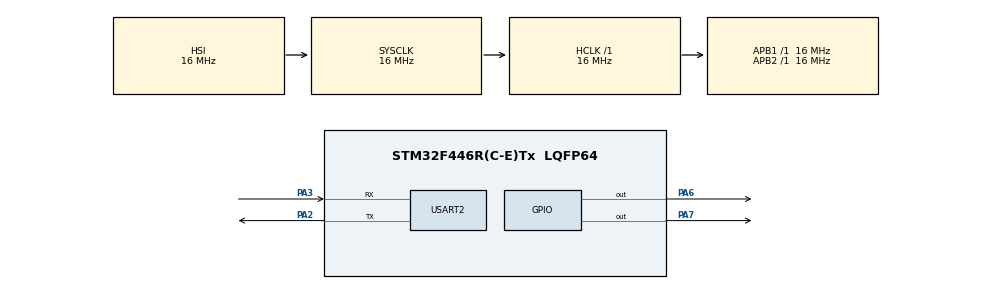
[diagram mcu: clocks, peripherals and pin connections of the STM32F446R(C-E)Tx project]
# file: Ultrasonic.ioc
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Mcu.Family=STM32F4
Mcu.Name=STM32F446R(C-E)Tx
Mcu.Package=LQFP64
NVIC.PriorityGroup=NVIC_PRIORITYGROUP_0
PA13.GPIO_Label=TMS
PA13.Mode=Serial_Wire
PA13.Signal=SYS_JTMS-SWDIO
PA14.GPIO_Label=TCK
PA14.Mode=Serial_Wire
PA14.Signal=SYS_JTCK-SWCLK
PA2.Mode=Asynchronous
PA2.Signal=USART2_TX
PA3.Mode=Asynchronous
PA3.Signal=USART2_RX
PA6.Signal=GPIO_Output
PA7.Signal=GPIO_Output
PB3.GPIO_Label=SWO
PB3.Signal=SYS_JTDO-SWO
PC14-OSC32_IN.Mode=LSE-External-Oscillator
PC14-OSC32_IN.Signal=RCC_OSC32_IN
PC15-OSC32_OUT.Mode=LSE-External-Oscillator
PC15-OSC32_OUT.Signal=RCC_OSC32_OUT
PH0-OSC_IN.Mode=HSE-External-Oscillator
PH0-OSC_IN.Signal=RCC_OSC_IN
PH1-OSC_OUT.Mode=HSE-External-Oscillator
PH1-OSC_OUT.Signal=RCC_OSC_OUT
ProjectManager.HeapSize=0x200
ProjectManager.StackSize=0x400
ProjectManager.TargetToolchain=SW4STM32
RCC.48MHZClocksFreq_Value=84000000
RCC.AHBFreq_Value=16000000
RCC.APB1Freq_Value=16000000
RCC.APB1TimFreq_Value=16000000
RCC.APB2Freq_Value=16000000
RCC.APB2TimFreq_Value=16000000
RCC.CortexFreq_Value=16000000
RCC.FLatency-AdvancedSettings=FLASH_LATENCY_0
RCC.HCLKFreq_Value=16000000
RCC.HSE_VALUE=8000000
RCC.HSI_VALUE=16000000
RCC.PLLM=8
RCC.PLLN=64
RCC.SYSCLKFreq_VALUE=16000000
RCC.USBFreq_Value=64000000
RCC.VCOOutputFreq_Value=128000000
TIM3.Period=15999
TIM3.Prescaler=999
TIM5.Period=65536
USART2.VirtualMode=VM_ASYNC
VP_TIM3_VS_ClockSourceINT.Mode=Internal
VP_TIM5_VS_ClockSourceINT.Mode=Internal
board=NUCLEO-F446RE

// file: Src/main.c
/* USER CODE BEGIN Header */
/**
  ******************************************************************************
  * @file           : main.c
  * @brief          : Main program body
  ******************************************************************************
  * @attention
  *
  * <h2><center>&copy; Copyright (c) 2019 STMicroelectronics.
  * All rights reserved.</center></h2>
  *
  * This software component is licensed by ST under BSD 3-Clause license,
  * the "License"; You may not use this file except in compliance with the
  * License. You may obtain a copy of the License at:
  *                        opensource.org/licenses/BSD-3-Clause
  *
  ******************************************************************************
  */
/* USER CODE END Header */

#include "main.h"
#include <string.h>

TIM_HandleTypeDef htim3;
TIM_HandleTypeDef htim5;

UART_HandleTypeDef huart2;

void SystemClock_Config(void);
static void MX_GPIO_Init(void);
static void MX_TIM3_Init(void);
static void MX_TIM5_Init(void);
static void MX_USART2_UART_Init(void);
void ultrasonic_read (void);
void UART_display(float i);
void delaymicrosecond(uint32_t);

/* USER CODE BEGIN 0 */
uint32_t local_time, sensor_time;
uint32_t distance;
uint32_t timer3_value=0;
/* USER CODE END 0 */

int main(void)
{

  /* MCU Configuration--------------------------------------------------------*/

  /* Reset of all peripherals, Initializes the Flash interface and the Systick. */
  HAL_Init();

  /* Configure the system clock */
  SystemClock_Config();

  /* Initialize all configured peripherals */
  MX_GPIO_Init();
  MX_TIM3_Init();
  MX_TIM5_Init();
  MX_USART2_UART_Init();

  /* Infinite loop */
  while (1)
  {

    /* USER CODE BEGIN 3 */
	  sensor_time = ultrasonic_read();
	  distance  = sensor_time * .034/2;
	  UART_display(distance);
  }
  /* USER CODE END 3 */
}

void SystemClock_Config(void)
{
  RCC_OscInitTypeDef RCC_OscInitStruct = {0};
  RCC_ClkInitTypeDef RCC_ClkInitStruct = {0};

  /** Configure the main internal regulator output voltage
  */
  __HAL_RCC_PWR_CLK_ENABLE();
  __HAL_PWR_VOLTAGESCALING_CONFIG(PWR_REGULATOR_VOLTAGE_SCALE3);
  /** Initializes the CPU, AHB and APB busses clocks
  */
  RCC_OscInitStruct.OscillatorType = RCC_OSCILLATORTYPE_HSI;
  RCC_OscInitStruct.HSIState = RCC_HSI_ON;
  RCC_OscInitStruct.HSICalibrationValue = RCC_HSICALIBRATION_DEFAULT;
  RCC_OscInitStruct.PLL.PLLState = RCC_PLL_NONE;
  if (HAL_RCC_OscConfig(&RCC_OscInitStruct) != HAL_OK)
  {
    Error_Handler();
  }
  /** Initializes the CPU, AHB and APB busses clocks
  */
  RCC_ClkInitStruct.ClockType = RCC_CLOCKTYPE_HCLK|RCC_CLOCKTYPE_SYSCLK
                              |RCC_CLOCKTYPE_PCLK1|RCC_CLOCKTYPE_PCLK2;
  RCC_ClkInitStruct.SYSCLKSource = RCC_SYSCLKSOURCE_HSI;
  RCC_ClkInitStruct.AHBCLKDivider = RCC_SYSCLK_DIV1;
  RCC_ClkInitStruct.APB1CLKDivider = RCC_HCLK_DIV1;
  RCC_ClkInitStruct.APB2CLKDivider = RCC_HCLK_DIV1;

  if (HAL_RCC_ClockConfig(&RCC_ClkInitStruct, FLASH_LATENCY_0) != HAL_OK)
  {
    Error_Handler();
  }
}

static void MX_TIM3_Init(void)
{

  TIM_ClockConfigTypeDef sClockSourceConfig = {0};
  TIM_MasterConfigTypeDef sMasterConfig = {0};

  htim3.Instance = TIM3;
  htim3.Init.Prescaler = 999;
  htim3.Init.CounterMode = TIM_COUNTERMODE_UP;
  htim3.Init.Period = 15999;
  htim3.Init.ClockDivision = TIM_CLOCKDIVISION_DIV1;
  htim3.Init.AutoReloadPreload = TIM_AUTORELOAD_PRELOAD_DISABLE;
  if (HAL_TIM_Base_Init(&htim3) != HAL_OK)
  {
    Error_Handler();
  }
  sClockSourceConfig.ClockSource = TIM_CLOCKSOURCE_INTERNAL;
  if (HAL_TIM_ConfigClockSource(&htim3, &sClockSourceConfig) != HAL_OK)
  {
    Error_Handler();
  }
  sMasterConfig.MasterOutputTrigger = TIM_TRGO_RESET;
  sMasterConfig.MasterSlaveMode = TIM_MASTERSLAVEMODE_DISABLE;
  if (HAL_TIMEx_MasterConfigSynchronization(&htim3, &sMasterConfig) != HAL_OK)
  {
    Error_Handler();
  }

}

static void MX_TIM5_Init(void)
{

  TIM_ClockConfigTypeDef sClockSourceConfig = {0};
  TIM_MasterConfigTypeDef sMasterConfig = {0};

  htim5.Instance = TIM5;
  htim5.Init.Prescaler = 0;
  htim5.Init.CounterMode = TIM_COUNTERMODE_UP;
  htim5.Init.Period = 65536;
  htim5.Init.ClockDivision = TIM_CLOCKDIVISION_DIV1;
  htim5.Init.AutoReloadPreload = TIM_AUTORELOAD_PRELOAD_DISABLE;
  if (HAL_TIM_Base_Init(&htim5) != HAL_OK)
  {
    Error_Handler();
  }
  sClockSourceConfig.ClockSource = TIM_CLOCKSOURCE_INTERNAL;
  if (HAL_TIM_ConfigClockSource(&htim5, &sClockSourceConfig) != HAL_OK)
  {
    Error_Handler();
  }
  sMasterConfig.MasterOutputTrigger = TIM_TRGO_RESET;
  sMasterConfig.MasterSlaveMode = TIM_MASTERSLAVEMODE_DISABLE;
  if (HAL_TIMEx_MasterConfigSynchronization(&htim5, &sMasterConfig) != HAL_OK)
  {
    Error_Handler();
  }

}

static void MX_USART2_UART_Init(void)
{

  huart2.Instance = USART2;
  huart2.Init.BaudRate = 115200;
  huart2.Init.WordLength = UART_WORDLENGTH_8B;
  huart2.Init.StopBits = UART_STOPBITS_1;
  huart2.Init.Parity = UART_PARITY_NONE;
  huart2.Init.Mode = UART_MODE_TX_RX;
  huart2.Init.HwFlowCtl = UART_HWCONTROL_NONE;
  huart2.Init.OverSampling = UART_OVERSAMPLING_16;
  if (HAL_UART_Init(&huart2) != HAL_OK)
  {
    Error_Handler();
  }

}

static void MX_GPIO_Init(void)
{
  GPIO_InitTypeDef GPIO_InitStruct = {0};

  /* GPIO Ports Clock Enable */
  __HAL_RCC_GPIOC_CLK_ENABLE();
  __HAL_RCC_GPIOH_CLK_ENABLE();
  __HAL_RCC_GPIOA_CLK_ENABLE();
  __HAL_RCC_GPIOB_CLK_ENABLE();

  /*Configure GPIO pin Output Level */
  HAL_GPIO_WritePin(GPIOA, GPIO_PIN_6|GPIO_PIN_7, GPIO_PIN_RESET);

  /*Configure GPIO pins : PA6 PA7 */
  GPIO_InitStruct.Pin = GPIO_PIN_6|GPIO_PIN_7;
  GPIO_InitStruct.Mode = GPIO_MODE_OUTPUT_PP;
  GPIO_InitStruct.Pull = GPIO_NOPULL;
  GPIO_InitStruct.Speed = GPIO_SPEED_FREQ_LOW;
  HAL_GPIO_Init(GPIOA, &GPIO_InitStruct);

}

/* USER CODE BEGIN 4 */
uint32_t ultrasonic_read (void){
	local_time=0;
	HAL_GPIO_WritePin(GPIOA, GPIO_PIN_6, GPIO_PIN_RESET);  // pull the TRIG pin HIGH
	delaymicrosecond(2);  // wait for 2 us

	timer3_value=__HAL_TIM_GET_COUNTER(&htim3);
	if(timer3_value>15998){
		__HAL_TIM_SET_COUNTER(&htim3,0);
		HAL_GPIO_WritePin(GPIOA,GPIO_PIN_6,GPIO_PIN_SET);
		delaymicrosecond(10);
		HAL_GPIO_WritePin(GPIOA,GPIO_PIN_6,GPIO_PIN_RESET);
	}
	while (!(HAL_GPIO_ReadPin(GPIOA, GPIO_PIN_2)));  // wait for the ECHO pin to go high
	while (HAL_GPIO_ReadPin(GPIOA, GPIO_PIN_2))    // while the pin is high
	{
		local_time++;   // measure time for which the pin is high
		delaymicrosecond(1);
	}
	return local_time*2;
}
void delaymicrosecond(uint32_t us)
{
	  uint32_t tickstart = 0;
		  tickstart = __HAL_TIM_GET_COUNTER(&htim5);
		  while((__HAL_TIM_GET_COUNTER(&htim5) - tickstart) < (us/1000000)/(1/(16000000)));
		  __HAL_TIM_SET_COUNTER(&htim5,0);
}
void UART_display(int i){
	char msg[20] = "";
	sprintf(msg, "%d", i);
	HAL_UART_Transmit(&huart2, (uint8_t *)msg, strlen(msg), 100);
}

/* USER CODE END 4 */

void Error_Handler(void)
{
}

/************************ (C) COPYRIGHT STMicroelectronics *****END OF FILE****/
